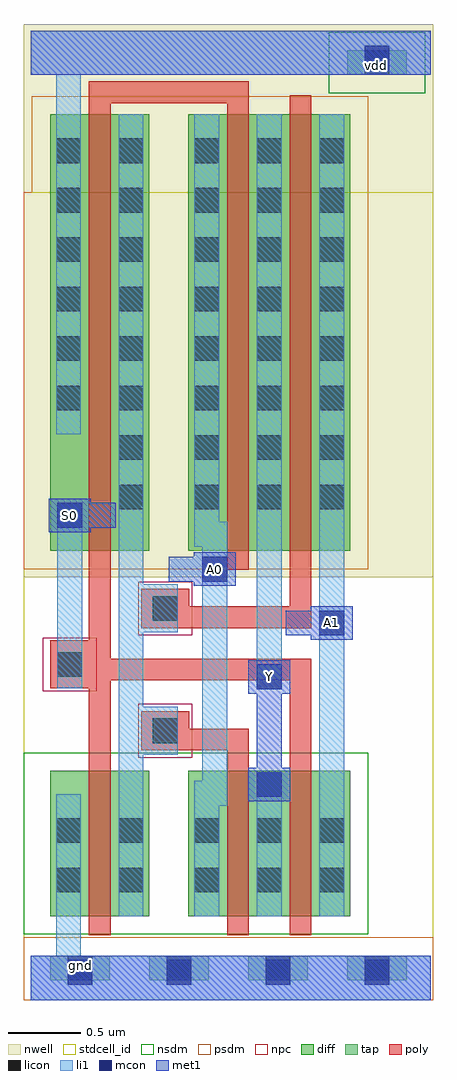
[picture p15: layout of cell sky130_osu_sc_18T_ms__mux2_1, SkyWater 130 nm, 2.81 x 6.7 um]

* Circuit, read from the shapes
.subckt sky130_osu_sc_18T_ms__mux2_1 A0 A1 S0 Y gnd vdd
XM1 n1 S0 gnd gnd sky130_fd_pr__nfet_01v8 w=1 l=0.15
XM2 Y n1 A0 gnd sky130_fd_pr__nfet_01v8 w=1 l=0.15
XM3 A1 S0 Y gnd sky130_fd_pr__nfet_01v8 w=1 l=0.15
XM4 n1 S0 vdd vdd sky130_fd_pr__pfet_01v8 w=3 l=0.15
XM5 Y S0 A0 vdd sky130_fd_pr__pfet_01v8 w=3 l=0.15
XM6 A1 n1 Y vdd sky130_fd_pr__pfet_01v8 w=3 l=0.15
.ends

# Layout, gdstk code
import gdstk
lib = gdstk.Library(unit=1e-6, precision=1e-09)
def R(c, l, rs):  # rectangles x0, y0, x1, y1
    for r in rs: c.add(gdstk.rectangle(r[:2], r[2:], *l))
def A(c, l, x, y, w, h, nx, ny, dx, dy):  # array of equal rectangles
    R(c, l, [(x+i*dx, y+j*dy, x+i*dx+w, y+j*dy+h) for i in range(nx) for j in range(ny)])
nwell = (64, 20)
diff = (65, 20)
tap = (65, 44)
poly = (66, 20)
licon = (66, 44)
li1 = (67, 20)
mcon = (67, 44)
met1 = (68, 20)
stdcell_id = (81, 4)
nsdm = (93, 44)
psdm = (94, 20)
npc = (95, 20)

sky130_osu_sc_18t_ms__mu = lib.new_cell('sky130_osu_sc_18T_ms__mux2_1')
R(sky130_osu_sc_18t_ms__mu, nwell, [(-0.045,2.905,2.765,6.705)])
R(sky130_osu_sc_18t_ms__mu, diff, [(0.135,0.575,0.815,1.575), (1.085,0.575,2.195,1.575), (0.135,3.085,0.815,6.085), (1.085,3.085,2.195,6.085)])
A(sky130_osu_sc_18t_ms__mu, tap, 0.135, 0.135, 0.41, 0.17, 4, 1, 0.68, 0)
R(sky130_osu_sc_18t_ms__mu, tap, [(2.175,6.355,2.585,6.525)])
R(sky130_osu_sc_18t_ms__mu, poly, [(0.4,0.445,0.55,2.14), (1.35,0.445,1.5,1.715), (1.78,0.445,1.93,2.195), (0.76,1.715,1.5,1.865), (0.76,1.865,1.09,1.985), (0.135,2.14,0.55,2.195), (0.135,2.195,1.93,2.345), (0.135,2.345,0.55,2.47), (0.4,2.47,0.55,6.16), (0.76,2.555,1.93,2.705), (0.76,2.705,1.09,2.825), (1.78,2.705,1.93,6.215), (1.35,2.955,1.5,6.16), (0.4,6.16,1.5,6.31)])
A(sky130_osu_sc_18t_ms__mu, licon, 0.255, 0.135, 0.17, 0.17, 4, 1, 0.68, 0)
A(sky130_osu_sc_18t_ms__mu, licon, 1.125, 0.74, 0.17, 0.17, 3, 2, 0.43, 0.34)
A(sky130_osu_sc_18t_ms__mu, licon, 0.605, 3.37, 0.17, 0.17, 1, 8, 0, 0.34)
A(sky130_osu_sc_18t_ms__mu, licon, 1.125, 3.37, 0.17, 0.17, 3, 8, 0.43, 0.34)
A(sky130_osu_sc_18t_ms__mu, licon, 0.175, 4.05, 0.17, 0.17, 1, 6, 0, 0.34)
R(sky130_osu_sc_18t_ms__mu, licon, [(0.175,0.74,0.345,0.91), (0.605,0.74,0.775,0.91), (0.175,1.08,0.345,1.25), (0.605,1.08,0.775,1.25), (0.84,1.765,1.01,1.935), (0.185,2.22,0.355,2.39), (0.84,2.605,1.01,2.775), (2.295,6.355,2.465,6.525)])
R(sky130_osu_sc_18t_ms__mu, li1, [(0,0,2.75,0.305), (0.175,0.305,0.345,1.415), (0.605,0.575,0.775,1.685), (1.125,0.575,1.295,1.335), (1.555,0.575,1.725,1.565), (1.985,0.575,2.155,6.085), (1.125,1.335,1.35,1.505), (1.18,1.505,1.35,3.115), (0.605,1.685,1.01,2.015), (0.605,2.015,0.775,2.525), (1.555,2.135,1.725,6.085), (0.185,2.14,0.355,3.415), (0.605,2.525,1.01,2.855), (0.605,2.855,0.775,6.085), (1.125,3.115,1.35,3.285), (1.125,3.285,1.295,6.085), (0.175,3.885,0.345,6.355), (0,6.355,2.75,6.66)])
A(sky130_osu_sc_18t_ms__mu, mcon, 0.255, 0.105, 0.17, 0.17, 4, 1, 0.68, 0)
R(sky130_osu_sc_18t_ms__mu, mcon, [(1.555,1.395,1.725,1.565), (1.555,2.135,1.725,2.305), (1.985,2.505,2.155,2.675), (1.18,2.875,1.35,3.045), (0.185,3.245,0.355,3.415), (2.295,6.385,2.465,6.555)])
R(sky130_osu_sc_18t_ms__mu, met1, [(0,0,2.75,0.305), (1.495,1.365,1.785,1.595), (1.555,1.595,1.725,2.105), (1.495,2.105,1.785,2.335), (1.925,2.475,2.215,2.505), (1.755,2.505,2.215,2.675), (1.925,2.675,2.215,2.705), (1.12,2.845,1.41,2.875), (0.95,2.875,1.41,3.045), (1.12,3.045,1.41,3.075), (0.125,3.215,0.415,3.245), (0.125,3.245,0.585,3.415), (0.125,3.415,0.415,3.445), (0,6.355,2.75,6.66)])
R(sky130_osu_sc_18t_ms__mu, stdcell_id, [(-0.045,0,2.765,5.55)])
R(sky130_osu_sc_18t_ms__mu, nsdm, [(-0.045,0.45,2.32,1.7), (2.05,6.23,2.71,6.65)])
R(sky130_osu_sc_18t_ms__mu, psdm, [(-0.045,0,2.765,0.43), (-0.045,2.96,2.32,5.55), (0.01,5.55,2.32,6.21)])
R(sky130_osu_sc_18t_ms__mu, npc, [(0.74,1.665,1.11,2.035), (0.085,2.12,0.455,2.49), (0.74,2.505,1.11,2.875)])
sky130_osu_sc_18t_ms__mu.add(gdstk.Label('gnd', (0.34,0.24), layer=68, texttype=16))
sky130_osu_sc_18t_ms__mu.add(gdstk.Label('vdd', (2.38,6.42), layer=68, texttype=16))
sky130_osu_sc_18t_ms__mu.add(gdstk.Label('S0', (0.27,3.33), layer=68, texttype=5))
sky130_osu_sc_18t_ms__mu.add(gdstk.Label('Y', (1.64,2.22), layer=68, texttype=5))
sky130_osu_sc_18t_ms__mu.add(gdstk.Label('A0', (1.265,2.96), layer=68, texttype=5))
sky130_osu_sc_18t_ms__mu.add(gdstk.Label('A1', (2.07,2.59), layer=68, texttype=5))

lib.write_gds('sky130_osu_sc_18T_ms__mux2_1.gds')
